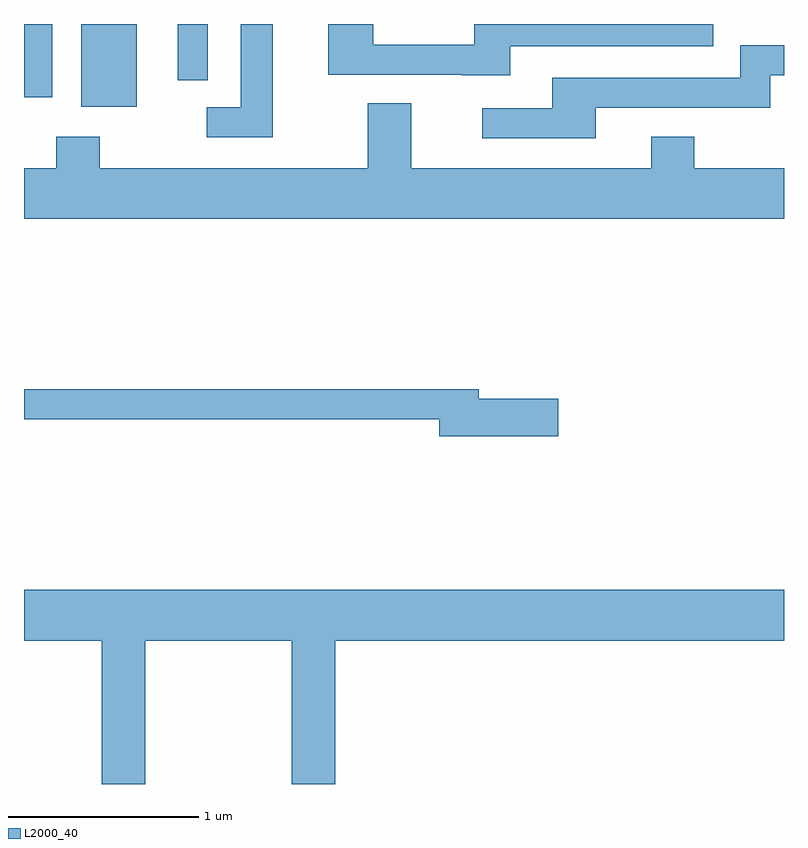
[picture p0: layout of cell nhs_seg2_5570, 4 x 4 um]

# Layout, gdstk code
import gdstk
lib = gdstk.Library(unit=1e-6, precision=1e-09)
def R(c, l, rs):  # rectangles x0, y0, x1, y1
    for r in rs: c.add(gdstk.rectangle(r[:2], r[2:], *l))
def P(c, l, *ps):  # polygons
    for p in ps: c.add(gdstk.Polygon(p, *l))
L2000_40 = (2000, 40)

nhs_seg2_5570 = lib.new_cell('nhs_seg2_5570')
R(nhs_seg2_5570, L2000_40, [(349.911,1033.366,350.204,1033.802), (349.611,1033.416,349.759,1033.802), (350.421,1033.507,350.579,1033.802)])
P(nhs_seg2_5570, L2000_40, [(350.919,1033.802),(350.751,1033.802),(350.751,1033.364),(350.573,1033.364),(350.573,1033.206),(350.919,1033.206)],
  [(352.169,1033.686),(353.238,1033.686),(353.238,1033.802),(351.981,1033.802),(351.981,1033.694),(351.449,1033.694),(351.449,1033.802),(351.211,1033.802),(351.211,1033.536),(351.915,1033.536),(351.915,1033.531),(352.169,1033.531)],
  [(352.619,1033.361),(353.539,1033.361),(353.539,1033.531),(353.611,1033.531),(353.611,1033.689),(353.381,1033.689),(353.381,1033.519),(352.391,1033.519),(352.391,1033.359),(352.023,1033.359),(352.023,1033.201),(352.619,1033.201)],
  [(352.911,1033.209),(352.911,1033.044),(351.649,1033.044),(351.649,1033.384),(351.421,1033.384),(351.421,1033.044),(350.009,1033.044),(350.009,1033.209),(349.781,1033.209),(349.781,1033.044),(349.611,1033.044),(349.611,1032.776),(353.611,1032.776),(353.611,1033.044),(353.139,1033.044),(353.139,1033.209)],
  [(352.424,1031.829),(352.004,1031.829),(352.004,1031.879),(349.611,1031.879),(349.611,1031.721),(351.796,1031.721),(351.796,1031.631),(352.424,1031.631)],
  [(350.249,1030.556),(351.021,1030.556),(351.021,1029.802),(351.249,1029.802),(351.249,1030.556),(353.611,1030.556),(353.611,1030.824),(349.611,1030.824),(349.611,1030.556),(350.021,1030.556),(350.021,1029.802),(350.249,1029.802)])

lib.write_gds('nhs_seg2_5570.gds')
